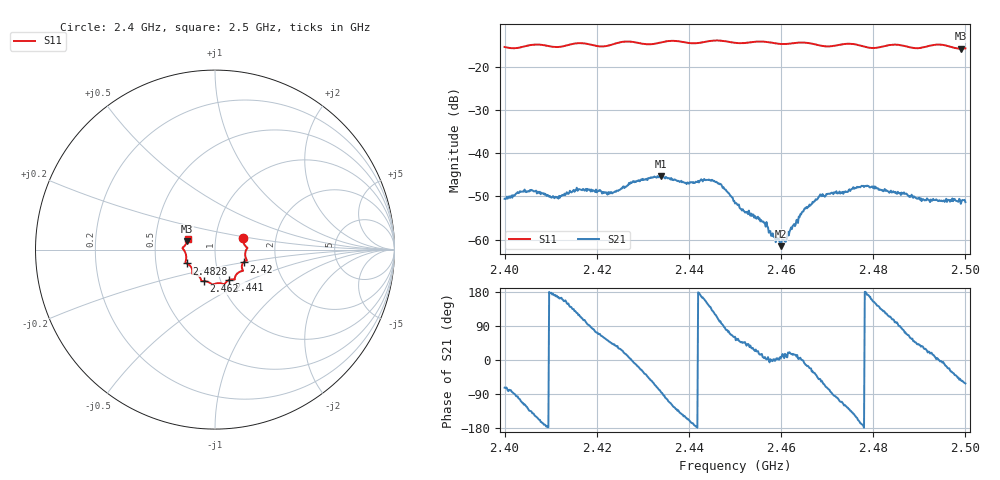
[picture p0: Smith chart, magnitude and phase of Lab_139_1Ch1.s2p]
# Hz S RI R 50
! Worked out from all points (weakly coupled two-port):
!   601 points, 2.4 GHz to 2.5 GHz, reference 50 ohm
!   highest |S21| = -45.31 dB at 2.4338 GHz (marker M1); lowest = -61.5 dB at 2.46 GHz (marker M2)
!   lowest |S11| = -15.8 dB at 2.499 GHz (marker M3), VSWR 1.39, Z = 36.5 + j3.48 ohm
!   |S11| at or under -10 dB: start of sweep to end of sweep
!   S12 and S22 are empty: the file has one direction only
!   S11 on the Smith chart (normalised r, x): 2.4 GHz: 1.36, +0.18; 2.42 GHz: 1.36, -0.20; 2.441 GHz: 1.10, -0.39; 2.462 GHz: 0.84, -0.30; 2.4828 GHz: 0.72, -0.11; 2.5 GHz: 0.73, +0.09
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2.4e9  0.1573 0.063  0.000864 -0.00283  0 0  0 0
2.403833e9  0.1686 0.0209  -0.00139 -0.00331  0 0  0 0
2.411167e9  0.1681 -0.0184  -0.00304 0.00065  0 0  0 0
2.416667e9  0.1779 -0.0601  -0.00136 0.00351  0 0  0 0
2.42e9  0.1594 -0.0697  0.0011 0.00334  0 0  0 0
2.423167e9  0.1499 -0.0992  0.0025 0.00251  0 0  0 0
2.433333e9  0.1123 -0.1512  0.00132 -0.0052  0 0  0 0
2.433833e9  0.1112 -0.1553  0.000691 -0.00538  0 0  0 0
2.441e9  0.0785 -0.1696  -0.00454 -0.000834  0 0  0 0
2.4455e9  0.0519 -0.1944  -0.00262 0.00399  0 0  0 0
2.45e9  0.0285 -0.1872  0.00125 0.0023  0 0  0 0
2.456333e9  -0.0165 -0.1946  0.00155 0.000127  0 0  0 0
2.46e9  -0.041 -0.1791  0.000834 8.02e-05  0 0  0 0
2.462e9  -0.0603 -0.1757  0.00123 0.000396  0 0  0 0
2.466667e9  -0.0781 -0.1682  0.00222 -0.00131  0 0  0 0
2.468667e9  -0.0851 -0.1532  0.00179 -0.00272  0 0  0 0
2.477333e9  -0.1258 -0.1216  -0.00401 -0.00088  0 0  0 0
2.482833e9  -0.1574 -0.0773  -0.00202 0.00313  0 0  0 0
2.483333e9  -0.1605 -0.0761  -0.00159 0.0032  0 0  0 0
2.491e9  -0.168 -0.0114  0.00249 0.00144  0 0  0 0
2.499e9  -0.1546 0.0465  0.00156 -0.00207  0 0  0 0
2.5e9  -0.1518 0.0608  0.00128 -0.00239  0 0  0 0
